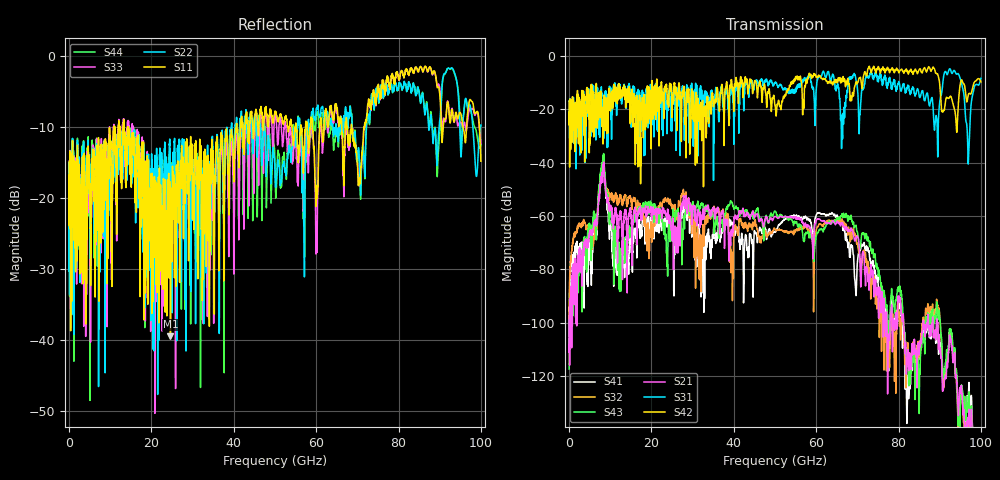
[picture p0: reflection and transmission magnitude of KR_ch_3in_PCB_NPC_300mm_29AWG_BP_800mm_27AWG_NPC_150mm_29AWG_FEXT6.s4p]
# GHz S RI R 45
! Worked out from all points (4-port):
!   4000 points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, 25 MHz to 100 GHz, reference 45 ohm
!   strongest paths, dB at 25 MHz, 25.02 GHz, 50.02 GHz, 75.03 GHz, 100 GHz:
!     S42: -21.2, -20.7, -18.6, -4.1, -9.8
!     S31: -21.3, -21.0, -10.2, -8.8, -8.4
!     S21: -108.4, -67.8, -60.2, -89.4, -160.4
!     S43: -117.3, -61.5, -58.1, -81.1, -153.5
!     S32: -98.4, -57.0, -65.1, -91.6, -178.6
!     S41: -105.0, -67.2, -65.9, -84.6, -154.3
!   lowest |S11| = -39.4 dB at 24.62 GHz (marker M1), VSWR 1.02, Z = 44.1 + j0.388 ohm
!   |S11| at or under -10 dB: start of sweep to 10.87 GHz; 14.28 GHz to 40.62 GHz (26.34 GHz wide, 96 % of centre); 68.66 GHz to 71.57 GHz (2.915 GHz wide, 4.16 % of centre) (the widest 3 of 38)
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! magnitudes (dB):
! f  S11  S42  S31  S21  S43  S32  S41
! 25 MHz  -16.8  -21.2  -21.3  -108.4  -117.3  -98.4  -105.0
! 8.1 GHz  -15.3  -19.4  -16.6  -46.8  -41.8  -45.0  -43.3
! 12.38 GHz  -11.6  -16.1  -12.7  -58.1  -78.2  -52.0  -77.6
! 24.62 GHz  -39.4  -13.2  -15.8  -61.4  -63.3  -54.2  -61.6
! 92.5 GHz  -9.4  -15.2  -4.9  -105.0  -102.3  -103.8  -103.3
! 96.88 GHz  -7.5  -15.0  -38.3  -137.7  -133.2  -142.4  -129.2
! 100 GHz  -14.8  -9.8  -8.4  -160.4  -153.5  -178.6  -154.3
